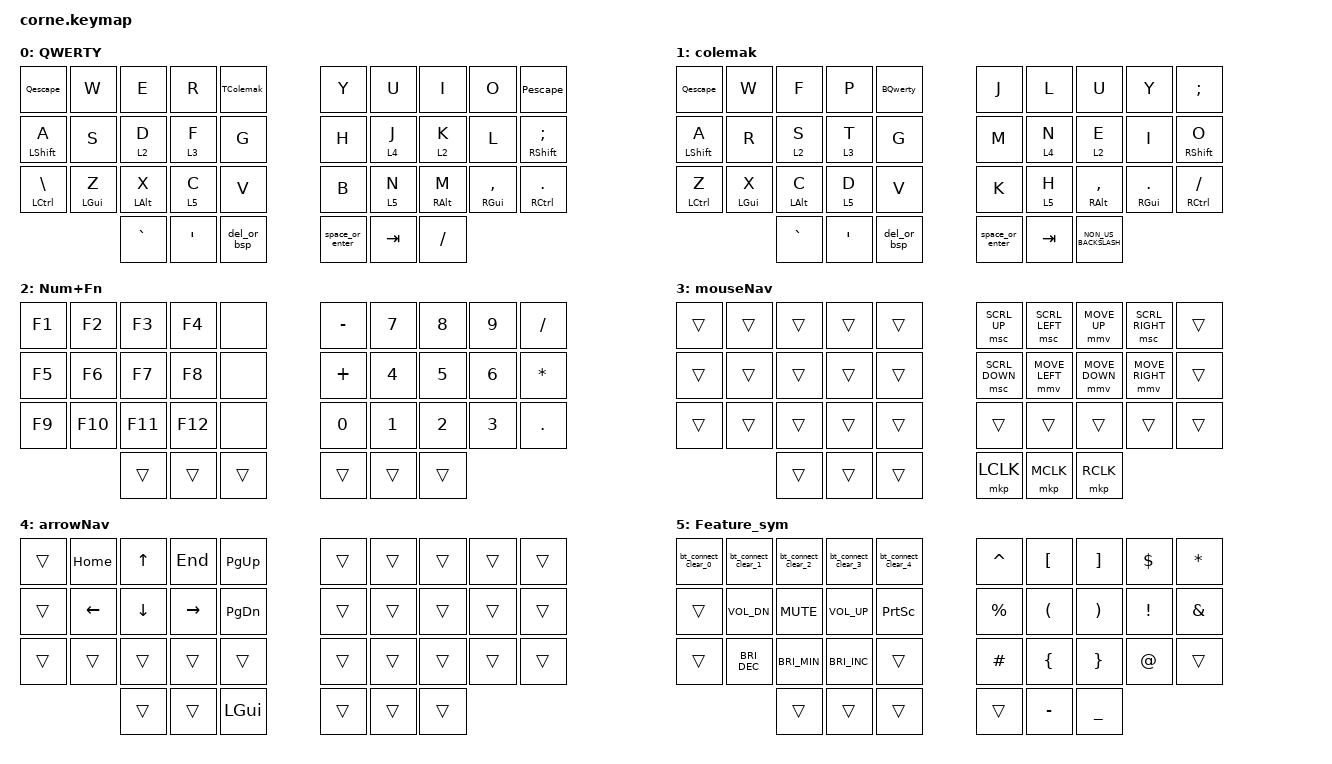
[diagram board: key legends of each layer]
#include "zmk-helpers/helper.h"
#include "mouse.dtsi"
#include <behaviors.dtsi>
#include <dt-bindings/zmk/bt.h>
#include <dt-bindings/zmk/keys.h>
#include <dt-bindings/zmk/mouse.h>

&mt {
    tapping-term-ms = <350>;
    flavor = "balanced";
    quick-tap-ms = <200>;
};

&lt {
    tapping-term-ms = <350>;
    quick-tap-ms = <200>;
    flavor = "balanced";
};

/ {
    chosen { zmk,matrix_transform = &five_column_transform; };

    behaviors {
        bt_connect_clear_0: bt_connect_clear_0 {
            compatible = "zmk,behavior-tap-dance";
            label = "BT_CONNECT_CLEAR_0";
            #binding-cells = <0>;
            bindings = <&bt BT_SEL 0>, <&bt BT_DISC 0>;

            tapping-term-ms = <200>;
        };

        bt_connect_clear_1: bt_connect_clear_1 {
            compatible = "zmk,behavior-tap-dance";
            label = "BT_CONNECT_CLEAR_1";
            #binding-cells = <0>;
            bindings = <&bt BT_SEL 1>, <&bt BT_DISC 1>;

            tapping-term-ms = <200>;
        };

        bt_connect_clear_2: bt_connect_clear_2 {
            compatible = "zmk,behavior-tap-dance";
            label = "BT_CONNECT_CLEAR_2";
            #binding-cells = <0>;
            bindings = <&bt BT_SEL 2>, <&bt BT_DISC 2>;

            tapping-term-ms = <200>;
        };

        bt_connect_clear_3: bt_connect_clear_3 {
            compatible = "zmk,behavior-tap-dance";
            label = "BT_CONNECT_CLEAR_3";
            #binding-cells = <0>;
            bindings = <&bt BT_SEL 3>, <&bt BT_DISC 3>;

            tapping-term-ms = <200>;
        };

        bt_connect_clear_4: bt_connect_clear_4 {
            compatible = "zmk,behavior-tap-dance";
            label = "BT_CONNECT_CLEAR_4";
            #binding-cells = <0>;
            bindings = <&bt BT_SEL 4>, <&bt BT_DISC 4>;

            tapping-term-ms = <200>;
        };

        del_or_bsp: del_or_bsp {
            compatible = "zmk,behavior-mod-morph";
            label = "DEL_OR_BSP";
            bindings = <&kp BACKSPACE>, <&kp DEL>;

            #binding-cells = <0>;
            mods = <(MOD_LSFT|MOD_RSFT)>;
        };

        space_or_enter: space_or_enter {
            compatible = "zmk,behavior-mod-morph";
            label = "SPACE_OR_ENTER";
            bindings = <&kp SPACE>, <&kp ENTER>;

            #binding-cells = <0>;
            mods = <(MOD_LSFT|MOD_RSFT)>;
        };

        Qescape: Qescape {
            compatible = "zmk,behavior-tap-dance";
            label = "QESCAPE";
            #binding-cells = <0>;
            bindings = <&kp Q>, <&kp ESCAPE>;
        };

        Pescape: Pescape {
            compatible = "zmk,behavior-tap-dance";
            label = "PESCAPE";
            #binding-cells = <0>;
            bindings = <&kp P>, <&kp ESCAPE>;
        };

        TColemak: TColemak {
            compatible = "zmk,behavior-tap-dance";
            label = "TCOLEMAK";
            #binding-cells = <0>;
            bindings = <&kp T>, <&tog 1>;
        };

        BQwerty: BQwerty {
            compatible = "zmk,behavior-tap-dance";
            label = "BQWERTY";
            #binding-cells = <0>;
            bindings = <&kp B>, <&tog 1>;
        };
    };

    keymap {
        compatible = "zmk,keymap";

        QWERTY {
            bindings = <
  &Qescape             &kp W           &kp E           &kp R             &TColemak      &kp Y            &kp U    &kp I            &kp O                &Pescape
  &mt LEFT_SHIFT A     &kp S           &lt 2 D         &lt 3 F           &kp G          &kp H            &lt 4 J  &lt 2 K          &kp L                &mt RSHIFT SEMICOLON
  &mt LCTRL BACKSLASH  &mt LEFT_GUI Z  &mt LEFT_ALT X  &lt 5 C           &kp V          &kp B            &lt 5 N  &mt RIGHT_ALT M  &mt RIGHT_GUI COMMA  &mt RCTRL PERIOD
                                       &kp GRAVE       &kp SINGLE_QUOTE  &del_or_bsp    &space_or_enter  &kp TAB  &kp SLASH
            >;
        };

        colemak {
            bindings = <
  &Qescape          &kp W           &kp F           &kp P             &BQwerty       &kp J            &kp L    &kp U                 &kp Y                 &kp SEMI
  &mt LEFT_SHIFT A  &kp R           &lt 2 S         &lt 3 T           &kp G          &kp M            &lt 4 N  &lt 2 E               &kp I                 &mt RSHIFT O
  &mt LCTRL Z       &mt LEFT_GUI X  &mt LEFT_ALT C  &lt 5 D           &kp V          &kp K            &lt 5 H  &mt RIGHT_ALT COMMA   &mt RIGHT_GUI PERIOD  &mt RCTRL SLASH
                                    &kp GRAVE       &kp SINGLE_QUOTE  &del_or_bsp    &space_or_enter  &kp TAB  &kp NON_US_BACKSLASH
            >;
        };

        Num+Fn {
            bindings = <
  &kp F1  &kp F2   &kp F3   &kp F4   &none     &kp MINUS  &kp N7  &kp N8  &kp N9  &kp FSLH
  &kp F5  &kp F6   &kp F7   &kp F8   &none     &kp PLUS   &kp N4  &kp N5  &kp N6  &kp ASTERISK
  &kp F9  &kp F10  &kp F11  &kp F12  &none     &kp N0     &kp N1  &kp N2  &kp N3  &kp PERIOD
                   &trans   &trans   &trans    &trans     &trans  &trans
            >;
        };

        mouseNav {
            bindings = <
  &trans  &trans  &trans  &trans  &trans    &msc SCRL_UP    &msc SCRL_LEFT  &mmv MOVE_UP    &msc SCRL_RIGHT  &trans
  &trans  &trans  &trans  &trans  &trans    &msc SCRL_DOWN  &mmv MOVE_LEFT  &mmv MOVE_DOWN  &mmv MOVE_RIGHT  &trans
  &trans  &trans  &trans  &trans  &trans    &trans          &trans          &trans          &trans           &trans
                  &trans  &trans  &trans    &mkp LCLK       &mkp MCLK       &mkp RCLK
            >;
        };

        arrowNav {
            bindings = <
  &trans  &kp HOME  &kp UP_ARROW  &kp END    &kp PAGE_UP      &trans  &trans  &trans  &trans  &trans
  &trans  &kp LEFT  &kp DOWN      &kp RIGHT  &kp PAGE_DOWN    &trans  &trans  &trans  &trans  &trans
  &trans  &trans    &trans        &trans     &trans           &trans  &trans  &trans  &trans  &trans
                    &trans        &trans     &kp LEFT_GUI     &trans  &trans  &trans
            >;
        };

        Feature_sym {
            bindings = <
  &bt_connect_clear_0  &bt_connect_clear_1  &bt_connect_clear_2  &bt_connect_clear_3   &bt_connect_clear_4    &kp CARET    &kp LBKT              &kp RBKT               &kp DOLLAR  &kp ASTRK
  &trans               &kp C_VOL_DN         &kp K_MUTE           &kp C_VOLUME_UP       &kp PRINTSCREEN        &kp PERCENT  &kp LEFT_PARENTHESIS  &kp RIGHT_PARENTHESIS  &kp EXCL    &kp AMPS
  &trans               &kp C_BRI_DEC        &kp C_BRI_MIN        &kp C_BRIGHTNESS_INC  &trans                 &kp HASH     &kp LEFT_BRACE        &kp RIGHT_BRACE        &kp AT      &trans
                                            &trans               &trans                &trans                 &trans       &kp MINUS             &kp UNDER
            >;
        };
    };
};
